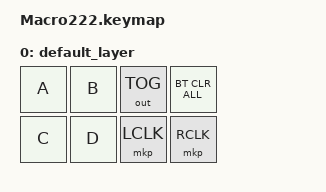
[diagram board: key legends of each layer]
#include <behaviors.dtsi>
#include <dt-bindings/zmk/keys.h>
#include <dt-bindings/zmk/bt.h>
#include <dt-bindings/zmk/outputs.h>
#include <dt-bindings/zmk/pointing.h>
//#include <dt-bindings/zmk/mouse.h>

/ {
    keymap {
        compatible = "zmk,keymap";

        default_layer { // Layer 0
            // -------------------------------------
            // |     a     |     b     |     e     |     f     |
            // |     c     |     d     |     g     |     h     |
            bindings = <
                &kp A    &kp B    &out OUT_TOG    &bt BT_CLR_ALL
                &kp C    &kp D    &mkp LCLK       &mkp RCLK
            >;
        };
    };
 };
